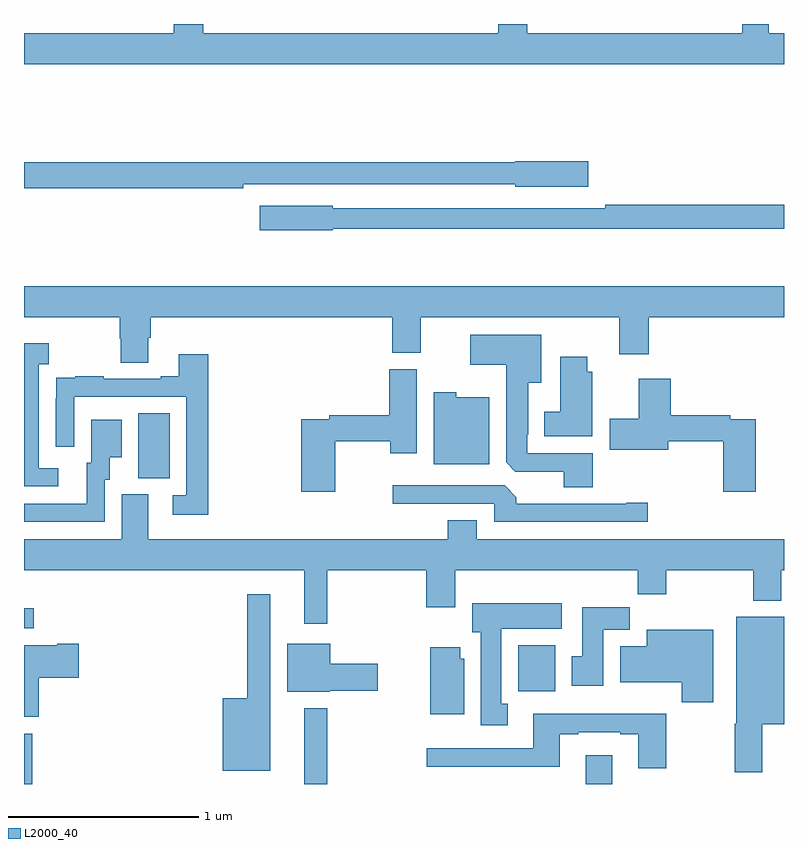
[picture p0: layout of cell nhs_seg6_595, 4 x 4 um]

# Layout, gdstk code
import gdstk
lib = gdstk.Library(unit=1e-6, precision=1e-09)
def R(c, l, rs):  # rectangles x0, y0, x1, y1
    for r in rs: c.add(gdstk.rectangle(r[:2], r[2:], *l))
def P(c, l, *ps):  # polygons
    for p in ps: c.add(gdstk.Polygon(p, *l))
L2000_40 = (2000, 40)

nhs_seg6_595 = lib.new_cell('nhs_seg6_595')
R(nhs_seg6_595, L2000_40, [(147,991.5,147.044,991.765), (148.475,991.5,148.597,991.9), (149.957,991.5,150.097,991.651), (149.6,991.988,149.797,992.23), (147,992.321,147.052,992.425), (147.602,993.109,147.766,993.452)])
P(nhs_seg6_595, L2000_40, [(151,995.452),(150.919,995.452),(150.919,995.5),(150.779,995.5),(150.779,995.452),(149.648,995.452),(149.648,995.5),(149.495,995.5),(149.495,995.452),(147.944,995.452),(147.944,995.5),(147.787,995.5),(147.787,995.452),(147,995.452),(147,995.288),(151,995.288)],
  [(148.154,994.656),(149.586,994.656),(149.586,994.643),(149.971,994.643),(149.971,994.778),(149.586,994.778),(149.586,994.772),(147,994.772),(147,994.636),(148.154,994.636)],
  [(148.626,994.422),(151,994.422),(151,994.55),(150.058,994.55),(150.058,994.53),(148.626,994.53),(148.626,994.543),(148.242,994.543),(148.242,994.414),(148.626,994.414)],
  [(147.655,993.85),(147.668,993.85),(147.668,993.956),(148.937,993.956),(148.937,993.769),(149.089,993.769),(149.089,993.956),(150.134,993.956),(150.134,993.762),(150.287,993.762),(150.287,993.956),(151,993.956),(151,994.12),(147,994.12),(147,993.956),(147.503,993.956),(147.503,993.843),(147.508,993.843),(147.508,993.718),(147.655,993.718)],
  [(149.993,993.24),(149.649,993.24),(149.649,993.337),(149.653,993.337),(149.653,993.611),(149.722,993.611),(149.722,993.865),(149.349,993.865),(149.349,993.707),(149.537,993.707),(149.537,993.193),(149.586,993.144),(149.84,993.144),(149.84,993.061),(149.993,993.061)],
  [(147.181,993.162),(147.078,993.162),(147.078,993.71),(147.13,993.71),(147.13,993.82),(147,993.82),(147,993.066),(147.181,993.066)],
  [(147.971,993.763),(147.815,993.763),(147.815,993.646),(147.719,993.646),(147.719,993.633),(147.419,993.633),(147.419,993.646),(147.271,993.646),(147.271,993.639),(147.169,993.639),(147.169,993.53),(147.168,993.53),(147.168,993.276),(147.264,993.276),(147.264,993.537),(147.855,993.537),(147.855,993.021),(147.783,993.021),(147.783,992.916),(147.971,992.916)],
  [(149.992,993.669),(149.965,993.669),(149.965,993.748),(149.822,993.748),(149.822,993.46),(149.738,993.46),(149.738,993.329),(149.992,993.329)],
  [(148.638,993.304),(148.927,993.304),(148.927,993.24),(149.068,993.24),(149.068,993.684),(148.922,993.684),(148.922,993.44),(148.606,993.44),(148.606,993.42),(148.46,993.42),(148.46,993.039),(148.638,993.039)],
  [(150.85,993.42),(150.716,993.42),(150.716,993.44),(150.404,993.44),(150.404,993.634),(150.236,993.634),(150.236,993.423),(150.084,993.423),(150.084,993.26),(150.391,993.26),(150.391,993.304),(150.68,993.304),(150.68,993.039),(150.85,993.039)],
  [(149.449,993.535),(149.274,993.535),(149.274,993.562),(149.156,993.562),(149.156,993.182),(149.449,993.182)],
  [(147.426,993.102),(147.451,993.102),(147.451,993.221),(147.514,993.221),(147.514,993.418),(147.353,993.418),(147.353,993.192),(147.329,993.192),(147.329,992.976),(147,992.976),(147,992.88),(147.426,992.88)],
  [(150.283,992.981),(150.17,992.981),(150.17,992.976),(149.591,992.976),(149.591,993.01),(149.529,993.072),(148.941,993.072),(148.941,992.976),(149.475,992.976),(149.475,992.88),(150.283,992.88)],
  [(149.383,992.887),(149.231,992.887),(149.231,992.788),(147.655,992.788),(147.655,993.024),(147.515,993.024),(147.515,992.788),(147,992.788),(147,992.624),(148.475,992.624),(148.475,992.343),(148.597,992.343),(148.597,992.624),(149.117,992.624),(149.117,992.43),(149.269,992.43),(149.269,992.624),(150.229,992.624),(150.229,992.5),(150.381,992.5),(150.381,992.624),(150.838,992.624),(150.838,992.465),(150.985,992.465),(150.985,992.624),(151,992.624),(151,992.788),(149.383,992.788)],
  [(148.297,992.5),(148.176,992.5),(148.176,991.951),(148.046,991.951),(148.046,991.571),(148.297,991.571)],
  [(149.545,991.922),(149.512,991.922),(149.512,992.318),(149.83,992.318),(149.83,992.452),(149.36,992.452),(149.36,992.298),(149.405,992.298),(149.405,991.809),(149.545,991.809)],
  [(150.049,992.312),(150.188,992.312),(150.188,992.431),(149.939,992.431),(149.939,992.172),(149.882,992.172),(149.882,992.016),(150.049,992.016)],
  [(150.886,991.814),(151,991.814),(151,992.38),(150.749,992.38),(150.749,991.818),(150.742,991.818),(150.742,991.563),(150.886,991.563)],
  [(150.628,992.311),(150.278,992.311),(150.278,992.224),(150.137,992.224),(150.137,992.036),(150.463,992.036),(150.463,991.929),(150.628,991.929)],
  [(148.608,991.991),(148.861,991.991),(148.861,992.133),(148.612,992.133),(148.612,992.239),(148.385,992.239),(148.385,991.985),(148.608,991.985)],
  [(147.077,992.06),(147.289,992.06),(147.289,992.238),(147.176,992.238),(147.176,992.23),(147,992.23),(147,991.854),(147.077,991.854)],
  [(149.317,992.16),(149.296,992.16),(149.296,992.221),(149.138,992.221),(149.138,991.868),(149.317,991.868)],
  [(150.381,991.87),(149.681,991.87),(149.681,991.689),(149.121,991.689),(149.121,991.592),(149.821,991.592),(149.821,991.761),(149.917,991.761),(149.917,991.773),(150.137,991.773),(150.137,991.761),(150.233,991.761),(150.233,991.584),(150.381,991.584)])

lib.write_gds('nhs_seg6_595.gds')
